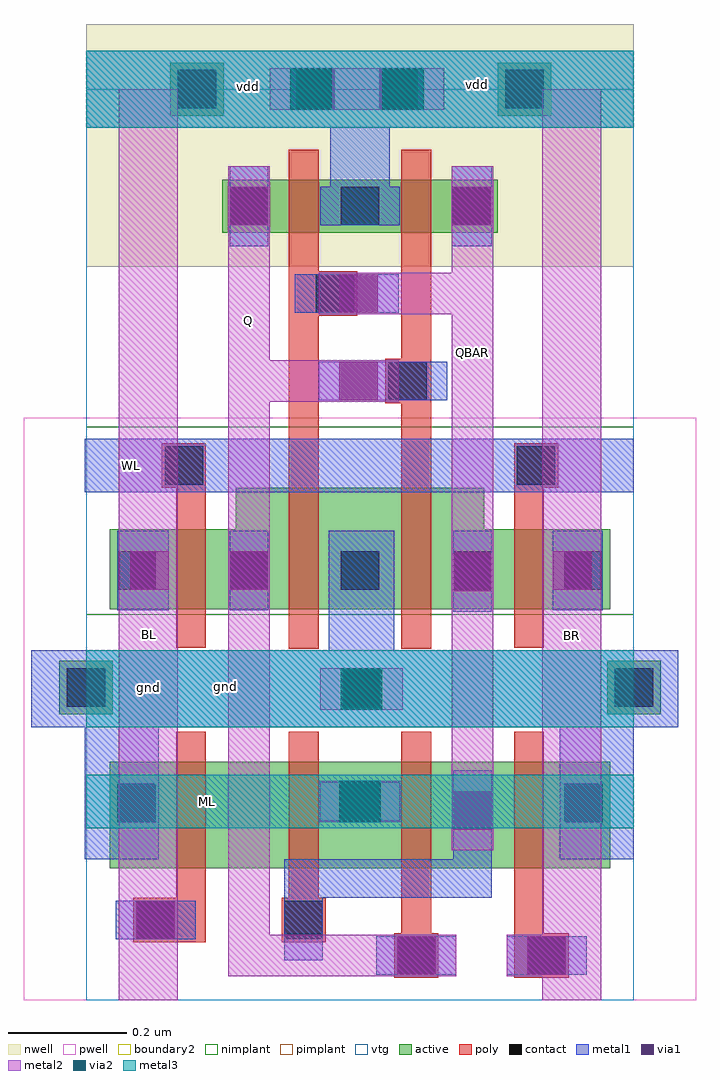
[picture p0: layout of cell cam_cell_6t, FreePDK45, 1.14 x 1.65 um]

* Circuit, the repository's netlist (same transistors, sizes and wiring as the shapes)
************************************************************************
* auCdl Netlist:
* 
* Library Name:  openram
* Top Cell Name: cam_cell_6t
* View Name:     schematic
* Netlisted on:  Jul 17 11:48:36 2021
************************************************************************

*.EQUATION
*.SCALE METER
*.MEGA
.PARAM



************************************************************************
* Library Name: openram
* Cell Name:    cam_cell_6t
* View Name:    schematic
************************************************************************

.SUBCKT cam_cell_6t BL BR WL ML vdd gnd
MM9 net55 BR gnd gnd NMOS_VTG W=180.0n L=50n m=1
MM8 ML Q net55 gnd NMOS_VTG W=180.0n L=50n m=1
MM7 net57 BL gnd gnd NMOS_VTG W=180.0n L=50n m=1
MM6 ML QBAR net57 gnd NMOS_VTG W=180.0n L=50n m=1
MM1 BR WL QBAR gnd NMOS_VTG W=135.00n L=50n m=1
MM2 QBAR Q gnd gnd NMOS_VTG W=205.00n L=50n m=1
MM3 Q QBAR gnd gnd NMOS_VTG W=205.00n L=50n m=1
MM0 Q WL BL gnd NMOS_VTG W=135.00n L=50n m=1
MM4 QBAR Q vdd vdd PMOS_VTG W=90n L=50n m=1
MM5 Q QBAR vdd vdd PMOS_VTG W=90n L=50n m=1
.ENDS

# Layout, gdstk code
from math import pi, radians
import gdstk
lib = gdstk.Library(unit=1e-6, precision=5e-10)
def R(c, l, rs):  # rectangles x0, y0, x1, y1
    for r in rs: c.add(gdstk.rectangle(r[:2], r[2:], *l))
def A(c, l, x, y, w, h, nx, ny, dx, dy):  # array of equal rectangles
    R(c, l, [(x+i*dx, y+j*dy, x+i*dx+w, y+j*dy+h) for i in range(nx) for j in range(ny)])
active = (1, 0)
pwell = (2, 0)
nwell = (3, 0)
nimplant = (4, 0)
pimplant = (5, 0)
vtg = (6, 0)
poly = (9, 0)
contact = (10, 0)
metal1 = (11, 0)
via1 = (12, 0)
metal2 = (13, 0)
via2 = (14, 0)
metal3 = (15, 0)
boundary2 = (239, 0)

m3_m2_cdns_628234830490 = lib.new_cell('M3_M2_CDNS_628234830490')
R(m3_m2_cdns_628234830490, metal2, [(-0.035,-0.07,0.035,0.07)])
R(m3_m2_cdns_628234830490, via2, [(-0.035,-0.035,0.035,0.035)])
R(m3_m2_cdns_628234830490, metal3, [(-0.035,-0.07,0.035,0.07)])

m2_m1_cdns_628234830491 = lib.new_cell('M2_M1_CDNS_628234830491')
R(m2_m1_cdns_628234830491, metal1, [(-0.035,-0.0675,0.035,0.0675)])
R(m2_m1_cdns_628234830491, via1, [(-0.0325,-0.0325,0.0325,0.0325)])
R(m2_m1_cdns_628234830491, metal2, [(-0.035,-0.07,0.035,0.07)])

m2_m1_cdns_628234830492 = lib.new_cell('M2_M1_CDNS_628234830492')
R(m2_m1_cdns_628234830492, metal1, [(-0.0325,-0.0675,0.0325,0.0675)])
R(m2_m1_cdns_628234830492, via1, [(-0.0325,-0.0325,0.0325,0.0325)])
R(m2_m1_cdns_628234830492, metal2, [(-0.035,-0.0675,0.035,0.0675)])

m2_m1_via = lib.new_cell('M2_M1_via')
R(m2_m1_via, metal1, [(-0.0675,-0.0325,0.0675,0.0325)])
R(m2_m1_via, via1, [(-0.0325,-0.0325,0.0325,0.0325)])
R(m2_m1_via, metal2, [(-0.035,-0.0675,0.035,0.0675)])

cam_cell_6t = lib.new_cell('cam_cell_6t')
A(cam_cell_6t, active, 0.23, 0.68, 0.09, 0.09, 3, 2, 0.1875, 0.615)
R(cam_cell_6t, active, [(0.04,0.2225,0.885,0.4025), (-0.045,0.4825,0.045,0.5725), (0.88,0.4825,0.97,0.5725), (0.04,0.66,0.885,0.795), (0.2525,0.66,0.6725,0.865), (0.04,0.68,0.13,0.77), (0.795,0.68,0.885,0.77), (0.23,1.295,0.695,1.385), (0.1425,1.4925,0.2325,1.5825), (0.695,1.4925,0.785,1.5825)])
R(cam_cell_6t, pwell, [(-0.105,0,1.03,0.9825)])
R(cam_cell_6t, nwell, [(0,1.2375,0.925,1.6475)])
R(cam_cell_6t, nimplant, [(0.04,0.2225,0.885,0.4025), (0,0.65,0.925,0.9675), (0.1425,1.4925,0.2325,1.5825), (0.695,1.4925,0.785,1.5825)])
R(cam_cell_6t, pimplant, [(-0.045,0.4825,0.045,0.5725), (0.88,0.4825,0.97,0.5725), (0.23,1.295,0.695,1.385)])
R(cam_cell_6t, vtg, [(0,0,0.925,1.5375)])
R(cam_cell_6t, poly, [(0.52,0.0375,0.595,0.1125), (0.7225,0.0375,0.7725,0.4525), (0.74,0.0375,0.815,0.1125), (0.08,0.0975,0.155,0.1725), (0.1525,0.0975,0.2025,0.4525), (0.33,0.0975,0.405,0.1725), (0.3425,0.1025,0.3925,0.4525), (0.5325,0.1025,0.5825,0.4525), (0.3425,0.5925,0.3925,1.435), (0.5325,0.5925,0.5825,1.435), (0.1525,0.595,0.2025,0.94), (0.7225,0.595,0.7725,0.94), (0.1275,0.865,0.2025,0.94), (0.7225,0.865,0.7975,0.94), (0.505,1.0075,0.58,1.0825), (0.3825,1.155,0.4575,1.23)])
A(cam_cell_6t, contact, 0.2425, 1.3075, 0.065, 0.065, 3, 1, 0.1875, 0)
R(cam_cell_6t, contact, [(0.525,0.0425,0.59,0.1075), (0.745,0.0425,0.81,0.1075), (0.085,0.1025,0.15,0.1675), (0.335,0.1025,0.4,0.1675), (0.0525,0.3,0.1175,0.365), (0.8075,0.3,0.8725,0.365), (0.43,0.3025,0.495,0.3675), (-0.0325,0.495,0.0325,0.56), (0.8925,0.495,0.9575,0.56), (0.0525,0.6925,0.1175,0.7575), (0.2425,0.6925,0.3075,0.7575), (0.43,0.6925,0.495,0.7575), (0.62,0.6925,0.685,0.7575), (0.8075,0.6925,0.8725,0.7575), (0.1325,0.87,0.1975,0.935), (0.7275,0.87,0.7925,0.935), (0.51,1.0125,0.575,1.0775), (0.3875,1.16,0.4525,1.225), (0.155,1.505,0.22,1.57), (0.7075,1.505,0.7725,1.57)])
R(cam_cell_6t, metal1, [(0.335,0.0675,0.4,0.2375), (0.335,0.1725,0.685,0.2375), (0.62,0.1725,0.685,0.345), (-0.0025,0.2375,0.1225,0.5625), (0.8,0.2375,0.925,0.5625), (-0.0925,0.46,1,0.59), (0.41,0.495,0.52,0.7925), (0.62,0.655,0.685,0.79), (0.0525,0.6575,0.1175,0.7925), (0.075,0.6575,0.14,0.7925), (0.2425,0.6575,0.3075,0.7925), (0.2425,0.6575,0.3075,0.7925), (0.43,0.6575,0.495,0.7925), (0.62,0.6575,0.685,0.7925), (0.7875,0.6575,0.8525,0.7925), (0.8075,0.6575,0.8725,0.7925), (-0.0025,0.8575,0.925,0.9475), (0.0975,0.87,0.2325,0.935), (0.6925,0.87,0.8275,0.935), (0.3925,1.0125,0.5275,1.0775), (0.475,1.0125,0.61,1.0775), (0.3525,1.16,0.4875,1.225), (0.3925,1.16,0.5275,1.225), (0.2425,1.2725,0.3075,1.4075), (0.2425,1.2725,0.3075,1.4075), (0.6175,1.2725,0.6825,1.4075), (0.62,1.2725,0.685,1.4075), (0.395,1.3075,0.53,1.3725), (0.4125,1.3275,0.5125,1.54), (0,1.4725,0.925,1.6025), (0.32,1.5025,0.595,1.5725)])
R(cam_cell_6t, via1, [(0.62,0.69,0.685,0.755), (0.075,0.6925,0.14,0.7575), (0.2425,0.6925,0.3075,0.7575), (0.7875,0.6925,0.8525,0.7575), (0.4275,1.0125,0.4925,1.0775), (0.4275,1.16,0.4925,1.225), (0.2425,1.3075,0.3075,1.3725), (0.62,1.3075,0.685,1.3725), (0.355,1.505,0.42,1.57), (0.495,1.505,0.56,1.57)])
R(cam_cell_6t, metal2, [(0.055,0,0.155,1.5375), (0.77,0,0.87,1.5375), (0.24,0.04,0.555,0.11), (0.24,0.04,0.31,1.4075), (0.6175,0.2525,0.6875,1.4075), (0.6175,0.655,0.6875,0.79), (0.0725,0.6575,0.1425,0.7925), (0.24,0.6575,0.31,0.7925), (0.785,0.6575,0.855,0.7925), (0.28,1.01,0.5275,1.08), (0.3925,1.01,0.5275,1.08), (0.3925,1.1575,0.5275,1.2275), (0.5,1.1575,0.6875,1.2275), (0.24,1.2725,0.31,1.4075), (0.6175,1.2725,0.6875,1.4075), (0.31,1.5025,0.605,1.5725), (0.31,1.5025,0.605,1.5725)])
R(cam_cell_6t, via2, [(0.345,1.5025,0.415,1.5725), (0.5,1.5025,0.57,1.5725)])
R(cam_cell_6t, metal3, [(0,0.29,0.925,0.38), (0,0.46,0.925,0.59), (0,1.4725,0.925,1.6025), (0.31,1.5025,0.605,1.5725)])
R(cam_cell_6t, boundary2, [(0,0,0.925,1.5375)])
cam_cell_6t.add(gdstk.Reference(m3_m2_cdns_628234830490, (0.4625,0.335), rotation=pi/2))
cam_cell_6t.add(gdstk.Reference(m3_m2_cdns_628234830490, (0.465,0.525), rotation=pi/2))
cam_cell_6t.add(gdstk.Reference(m2_m1_cdns_628234830491, (0.465,0.525), rotation=pi/2))
cam_cell_6t.add(gdstk.Reference(m2_m1_cdns_628234830492, (0.5575,0.075), rotation=pi/2))
cam_cell_6t.add(gdstk.Reference(m2_m1_cdns_628234830492, (0.6525,0.32)))
cam_cell_6t.add(gdstk.Reference(m2_m1_cdns_628234830492, (0.4625,0.335), rotation=pi/2))
cam_cell_6t.add(gdstk.Reference(m2_m1_cdns_628234830492, (0.7775,0.075), rotation=pi/2))
cam_cell_6t.add(gdstk.Reference(m2_m1_via, (0.1175,0.135)))
cam_cell_6t.add(gdstk.Label('gnd', (0.105,0.5275), layer=11, texttype=0))
cam_cell_6t.add(gdstk.Label('vdd', (0.275,1.5425), layer=11, texttype=0))
cam_cell_6t.add(gdstk.Label('WL', (0.0775,0.9025), layer=11, texttype=0))
cam_cell_6t.add(gdstk.Label('ML', (0.205,0.335), layer=15, texttype=0))
cam_cell_6t.add(gdstk.Label('gnd', (0.235,0.53), layer=15, texttype=0))
cam_cell_6t.add(gdstk.Label('vdd', (0.66,1.545), layer=15, texttype=0))
cam_cell_6t.add(gdstk.Label('BR', (0.82,0.615), layer=13, texttype=0))
cam_cell_6t.add(gdstk.Label('QBAR', (0.6525,1.0925), layer=13, texttype=0))
cam_cell_6t.add(gdstk.Label('Q', (0.275,1.1475), layer=13, texttype=0))
cam_cell_6t.add(gdstk.Label('BL', (0.1075,0.6175), layer=13, texttype=0))

lib.write_gds('cam_cell_6t.gds')
